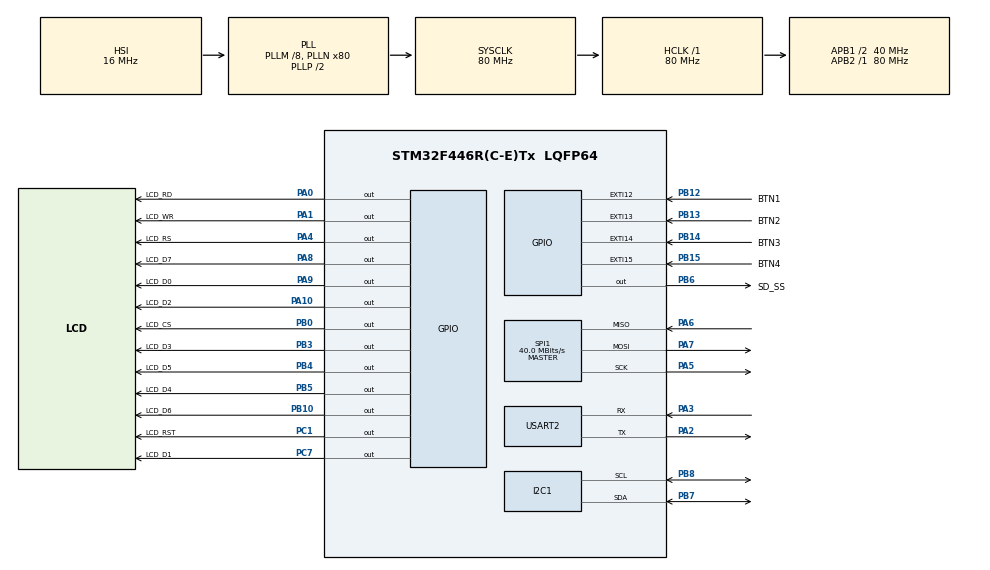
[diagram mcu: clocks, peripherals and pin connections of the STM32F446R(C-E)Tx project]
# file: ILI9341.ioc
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Mcu.Family=STM32F4
Mcu.Name=STM32F446R(C-E)Tx
Mcu.Package=LQFP64
NVIC.EXTI15_10_IRQn=true\:0\:0\:false\:false\:true\:true\:true\:true
NVIC.I2C1_ER_IRQn=true\:0\:0\:false\:false\:true\:true\:true\:true
NVIC.I2C1_EV_IRQn=true\:0\:0\:false\:false\:true\:true\:true\:true
NVIC.PriorityGroup=NVIC_PRIORITYGROUP_4
NVIC.USART2_IRQn=true\:0\:0\:false\:false\:true\:true\:true\:true
PA0-WKUP.GPIO_Label=LCD_RD
PA0-WKUP.GPIO_Speed=GPIO_SPEED_FREQ_HIGH
PA0-WKUP.Signal=GPIO_Output
PA1.GPIO_Label=LCD_WR
PA1.GPIO_Speed=GPIO_SPEED_FREQ_HIGH
PA1.Signal=GPIO_Output
PA10.GPIO_Label=LCD_D2
PA10.GPIO_Speed=GPIO_SPEED_FREQ_HIGH
PA10.Signal=GPIO_Output
PA13.Mode=Serial_Wire
PA13.Signal=SYS_JTMS-SWDIO
PA14.Mode=Serial_Wire
PA14.Signal=SYS_JTCK-SWCLK
PA2.Mode=Asynchronous
PA2.Signal=USART2_TX
PA3.Mode=Asynchronous
PA3.Signal=USART2_RX
PA4.GPIO_Label=LCD_RS
PA4.GPIO_Speed=GPIO_SPEED_FREQ_HIGH
PA4.Signal=GPIO_Output
PA5.Mode=Full_Duplex_Master
PA5.Signal=SPI1_SCK
PA6.Mode=Full_Duplex_Master
PA6.Signal=SPI1_MISO
PA7.Mode=Full_Duplex_Master
PA7.Signal=SPI1_MOSI
PA8.GPIO_Label=LCD_D7
PA8.GPIO_Speed=GPIO_SPEED_FREQ_HIGH
PA8.Signal=GPIO_Output
PA9.GPIO_Label=LCD_D0
PA9.GPIO_Speed=GPIO_SPEED_FREQ_HIGH
PA9.Signal=GPIO_Output
PB0.GPIO_Label=LCD_CS
PB0.GPIO_Speed=GPIO_SPEED_FREQ_HIGH
PB0.Signal=GPIO_Output
PB10.GPIO_Label=LCD_D6
PB10.GPIO_Speed=GPIO_SPEED_FREQ_HIGH
PB10.Signal=GPIO_Output
PB12.GPIO_Label=BTN1
PB12.Signal=GPXTI12
PB13.GPIO_Label=BTN2
PB13.Signal=GPXTI13
PB14.GPIO_Label=BTN3
PB14.Signal=GPXTI14
PB15.GPIO_Label=BTN4
PB15.Signal=GPXTI15
PB3.GPIO_Label=LCD_D3
PB3.GPIO_Speed=GPIO_SPEED_FREQ_HIGH
PB3.Signal=GPIO_Output
PB4.GPIO_Label=LCD_D5
PB4.GPIO_Speed=GPIO_SPEED_FREQ_HIGH
PB4.Signal=GPIO_Output
PB5.GPIO_Label=LCD_D4
PB5.GPIO_Speed=GPIO_SPEED_FREQ_HIGH
PB5.Signal=GPIO_Output
PB6.GPIO_Label=SD_SS
PB6.GPIO_Speed=GPIO_SPEED_FREQ_HIGH
PB6.Signal=GPIO_Output
PB7.Mode=I2C
PB7.Signal=I2C1_SDA
PB8.Mode=I2C
PB8.Signal=I2C1_SCL
PC1.GPIO_Label=LCD_RST
PC1.GPIO_Speed=GPIO_SPEED_FREQ_HIGH
PC1.Signal=GPIO_Output
PC7.GPIO_Label=LCD_D1
PC7.GPIO_Speed=GPIO_SPEED_FREQ_HIGH
PC7.Signal=GPIO_Output
PH0-OSC_IN.Mode=HSE-External-Oscillator
PH0-OSC_IN.Signal=RCC_OSC_IN
PH1-OSC_OUT.Mode=HSE-External-Oscillator
PH1-OSC_OUT.Signal=RCC_OSC_OUT
ProjectManager.HeapSize=0x200
ProjectManager.StackSize=0x400
ProjectManager.TargetToolchain=STM32CubeIDE
RCC.AHBFreq_Value=80000000
RCC.APB1CLKDivider=RCC_HCLK_DIV2
RCC.APB1Freq_Value=40000000
RCC.APB1TimFreq_Value=80000000
RCC.APB2Freq_Value=80000000
RCC.APB2TimFreq_Value=80000000
RCC.CortexFreq_Value=80000000
RCC.HCLKFreq_Value=80000000
RCC.PLLM=8
RCC.PLLN=80
RCC.SYSCLKFreq_VALUE=80000000
RCC.SYSCLKSource=RCC_SYSCLKSOURCE_PLLCLK
RCC.USBFreq_Value=80000000
RCC.VCOOutputFreq_Value=160000000
SPI1.CalculateBaudRate=40.0 MBits/s
SPI1.Direction=SPI_DIRECTION_2LINES
SPI1.Mode=SPI_MODE_MASTER
SPI1.VirtualType=VM_MASTER
USART2.VirtualMode=VM_ASYNC
board=custom

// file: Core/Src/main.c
/* USER CODE BEGIN Header */
/**
 ******************************************************************************
 * @file           : main.c
 * @brief          : Main program body
 ******************************************************************************
 * @attention
 *
 * Copyright (c) 2024 STMicroelectronics.
 * All rights reserved.
 *
 * This software is licensed under terms that can be found in the LICENSE file
 * in the root directory of this software component.
 * If no LICENSE file comes with this software, it is provided AS-IS.
 *
 ******************************************************************************
 */
/* USER CODE END Header */
#include "main.h"

/* USER CODE BEGIN Includes */
#include "ili9341.h"
#include "sprites.h"
/* USER CODE END Includes */

/* USER CODE BEGIN PTD */
typedef struct {
    uint8_t estado;
    unsigned int isEntering;
    float animacionEntrada;
    unsigned int isOut;
    float animacionSalida;
    uint8_t num;
    unsigned int x;
    unsigned int y;
} EspacioParqueo;
/* USER CODE END PTD */

I2C_HandleTypeDef hi2c1;

SPI_HandleTypeDef hspi1;

UART_HandleTypeDef huart2;

/* USER CODE BEGIN PV */
extern uint8_t fondo[];
uint8_t byteControl= 0x00;
uint8_t datos = 0x00;
EspacioParqueo p1,p2,p3,p4,p5,p6,p7,p8;
uint8_t Rx[1];
uint8_t Tx[1];

// Variables para antirrebote y conteo por botón
uint32_t previousMillis[4] = {0, 0, 0, 0};
uint32_t currentMillis = 0;
uint32_t counterOutside = 0;
uint32_t counterInside[4] = {0, 0, 0, 0};

//Variables I2C
uint8_t I2C_Rx[1];
/* USER CODE END PV */

void SystemClock_Config(void);
static void MX_GPIO_Init(void);
static void MX_SPI1_Init(void);
static void MX_USART2_UART_Init(void);
static void MX_I2C1_Init(void);

int main(void)
{

  /* USER CODE BEGIN 1 */

void initParqueo(EspacioParqueo* parqueo, uint8_t num, unsigned int x, unsigned int y){
	parqueo ->estado = 0; // 0 = libre, 1 = ocupado
	parqueo ->isEntering=0;
	parqueo ->animacionEntrada=5;
	parqueo ->isOut=0;
	parqueo ->animacionSalida=5;
	parqueo ->num=num;
	parqueo ->x=x;
	parqueo ->y=y;
}

void FanimationOut(EspacioParqueo* parqueo){
	int variableAnimationOut = parqueo ->  animacionSalida;
	if (variableAnimationOut<5){
		if (parqueo->num==0x10 || parqueo->num==0x20||parqueo->num==0x40 || parqueo->num==0x80){
			LCD_Sprite(parqueo ->x, parqueo->y, 40, 24, RedCar_40x24, 5, variableAnimationOut, 1, 0);
		} else{
			LCD_Sprite(parqueo ->x, parqueo->y, 40, 24, RedCar_40x24, 5, variableAnimationOut, 0, 0);
			  }
		}
	parqueo -> animacionSalida+=0.8;//0.2
}

void FanimationEnter(EspacioParqueo* parqueo){
	int variableAnimationEnter = parqueo ->  animacionEntrada;
	if (variableAnimationEnter<5){
		int frame=4-variableAnimationEnter;
		if (parqueo->num==0x10 || parqueo->num==0x20||parqueo->num==0x40 || parqueo->num==0x80){
		LCD_Sprite(parqueo ->x, parqueo->y, 40, 24, RedCar_40x24, 5, frame, 1, 0);
		} else{
			LCD_Sprite(parqueo ->x, parqueo->y, 40, 24, RedCar_40x24, 5, frame, 0, 0);
		}
	}
	parqueo -> animacionEntrada+=0.8;
}

void actualizarEstadoParqueos(EspacioParqueo* parqueo, uint8_t byteControl, int num) {
	if (byteControl & (1 << num)) {
	            // El bit está activo, el espacio está ocupado
	            parqueo ->estado = 1;
	            parqueo ->animacionEntrada=0;
	        } else {
	            // El bit está inactivo, el espacio está libre
	            parqueo -> estado = 0;
	            parqueo ->animacionSalida=0;
	        }
}

void controlParqueo(void){

	actualizarEstadoParqueos(&p1,byteControl, 0);
	FanimationOut(&p1);
	FanimationEnter(&p1);

	actualizarEstadoParqueos(&p2,byteControl, 1);
	FanimationOut(&p2);
	FanimationEnter(&p2);

	actualizarEstadoParqueos(&p3,byteControl, 2);
	FanimationOut(&p3);
	FanimationEnter(&p3);

	actualizarEstadoParqueos(&p4,byteControl, 3);
	FanimationOut(&p4);
	FanimationEnter(&p4);

	actualizarEstadoParqueos(&p5,byteControl, 4);
	FanimationOut(&p5);
	FanimationEnter(&p5);

	actualizarEstadoParqueos(&p6,byteControl, 5);
	FanimationOut(&p6);
	FanimationEnter(&p6);

	actualizarEstadoParqueos(&p7,byteControl, 6);
	FanimationOut(&p7);
	FanimationEnter(&p7);

	actualizarEstadoParqueos(&p8,byteControl, 7);
	FanimationOut(&p8);
	FanimationEnter(&p8);

}

  /* USER CODE END 1 */

  /* MCU Configuration--------------------------------------------------------*/

  /* Reset of all peripherals, Initializes the Flash interface and the Systick. */
  HAL_Init();

  /* Configure the system clock */
  SystemClock_Config();

  /* Initialize all configured peripherals */
  MX_GPIO_Init();
  MX_SPI1_Init();
  MX_USART2_UART_Init();
  MX_I2C1_Init();
  /* USER CODE BEGIN 2 */

  //UART
  //HAL_UART_Receive_IT(&huart2, Rx, sizeof(Rx));

  //I2C
  if (HAL_I2C_EnableListen_IT(&hi2c1) != HAL_OK){
	  Error_Handler();
  }

  HAL_Delay(100);

	LCD_Init();
	LCD_Clear(0x00);

	LCD_Bitmap(0, 0, 320, 240, fondo);

	initParqueo(&p1, 0x01, 26, 191);
	initParqueo(&p2, 0x02, 26, 150);
	initParqueo(&p3, 0x04, 26, 108);
	initParqueo(&p4, 0x08, 26, 68);

	initParqueo(&p5, 0x10, 253, 68);
	initParqueo(&p6, 0x20, 253, 108);
	initParqueo(&p7, 0x40, 253, 150);
	initParqueo(&p8, 0x80, 253, 191);
  /* USER CODE END 2 */

  /* Infinite loop */
  /* USER CODE BEGIN WHILE */
	while (1) {
		controlParqueo();
    /* USER CODE END WHILE */

	}
}

void SystemClock_Config(void)
{
  RCC_OscInitTypeDef RCC_OscInitStruct = {0};
  RCC_ClkInitTypeDef RCC_ClkInitStruct = {0};

  /** Configure the main internal regulator output voltage
  */
  __HAL_RCC_PWR_CLK_ENABLE();
  __HAL_PWR_VOLTAGESCALING_CONFIG(PWR_REGULATOR_VOLTAGE_SCALE3);

  /** Initializes the RCC Oscillators according to the specified parameters
  * in the RCC_OscInitTypeDef structure.
  */
  RCC_OscInitStruct.OscillatorType = RCC_OSCILLATORTYPE_HSI;
  RCC_OscInitStruct.HSIState = RCC_HSI_ON;
  RCC_OscInitStruct.HSICalibrationValue = RCC_HSICALIBRATION_DEFAULT;
  RCC_OscInitStruct.PLL.PLLState = RCC_PLL_ON;
  RCC_OscInitStruct.PLL.PLLSource = RCC_PLLSOURCE_HSI;
  RCC_OscInitStruct.PLL.PLLM = 8;
  RCC_OscInitStruct.PLL.PLLN = 80;
  RCC_OscInitStruct.PLL.PLLP = RCC_PLLP_DIV2;
  RCC_OscInitStruct.PLL.PLLQ = 2;
  RCC_OscInitStruct.PLL.PLLR = 2;
  if (HAL_RCC_OscConfig(&RCC_OscInitStruct) != HAL_OK)
  {
    Error_Handler();
  }

  /** Initializes the CPU, AHB and APB buses clocks
  */
  RCC_ClkInitStruct.ClockType = RCC_CLOCKTYPE_HCLK|RCC_CLOCKTYPE_SYSCLK
                              |RCC_CLOCKTYPE_PCLK1|RCC_CLOCKTYPE_PCLK2;
  RCC_ClkInitStruct.SYSCLKSource = RCC_SYSCLKSOURCE_PLLCLK;
  RCC_ClkInitStruct.AHBCLKDivider = RCC_SYSCLK_DIV1;
  RCC_ClkInitStruct.APB1CLKDivider = RCC_HCLK_DIV2;
  RCC_ClkInitStruct.APB2CLKDivider = RCC_HCLK_DIV1;

  if (HAL_RCC_ClockConfig(&RCC_ClkInitStruct, FLASH_LATENCY_2) != HAL_OK)
  {
    Error_Handler();
  }
}

static void MX_I2C1_Init(void)
{

  hi2c1.Instance = I2C1;
  hi2c1.Init.ClockSpeed = 100000;
  hi2c1.Init.DutyCycle = I2C_DUTYCYCLE_2;
  hi2c1.Init.OwnAddress1 = 0;
  hi2c1.Init.AddressingMode = I2C_ADDRESSINGMODE_7BIT;
  hi2c1.Init.DualAddressMode = I2C_DUALADDRESS_DISABLE;
  hi2c1.Init.OwnAddress2 = 0;
  hi2c1.Init.GeneralCallMode = I2C_GENERALCALL_DISABLE;
  hi2c1.Init.NoStretchMode = I2C_NOSTRETCH_DISABLE;
  if (HAL_I2C_Init(&hi2c1) != HAL_OK)
  {
    Error_Handler();
  }

}

static void MX_SPI1_Init(void)
{

  /* SPI1 parameter configuration*/
  hspi1.Instance = SPI1;
  hspi1.Init.Mode = SPI_MODE_MASTER;
  hspi1.Init.Direction = SPI_DIRECTION_2LINES;
  hspi1.Init.DataSize = SPI_DATASIZE_8BIT;
  hspi1.Init.CLKPolarity = SPI_POLARITY_LOW;
  hspi1.Init.CLKPhase = SPI_PHASE_1EDGE;
  hspi1.Init.NSS = SPI_NSS_SOFT;
  hspi1.Init.BaudRatePrescaler = SPI_BAUDRATEPRESCALER_2;
  hspi1.Init.FirstBit = SPI_FIRSTBIT_MSB;
  hspi1.Init.TIMode = SPI_TIMODE_DISABLE;
  hspi1.Init.CRCCalculation = SPI_CRCCALCULATION_DISABLE;
  hspi1.Init.CRCPolynomial = 10;
  if (HAL_SPI_Init(&hspi1) != HAL_OK)
  {
    Error_Handler();
  }

}

static void MX_USART2_UART_Init(void)
{

  huart2.Instance = USART2;
  huart2.Init.BaudRate = 115200;
  huart2.Init.WordLength = UART_WORDLENGTH_8B;
  huart2.Init.StopBits = UART_STOPBITS_1;
  huart2.Init.Parity = UART_PARITY_NONE;
  huart2.Init.Mode = UART_MODE_TX_RX;
  huart2.Init.HwFlowCtl = UART_HWCONTROL_NONE;
  huart2.Init.OverSampling = UART_OVERSAMPLING_16;
  if (HAL_UART_Init(&huart2) != HAL_OK)
  {
    Error_Handler();
  }

}

static void MX_GPIO_Init(void)
{
  GPIO_InitTypeDef GPIO_InitStruct = {0};

  /* GPIO Ports Clock Enable */
  __HAL_RCC_GPIOH_CLK_ENABLE();
  __HAL_RCC_GPIOC_CLK_ENABLE();
  __HAL_RCC_GPIOA_CLK_ENABLE();
  __HAL_RCC_GPIOB_CLK_ENABLE();

  /*Configure GPIO pin Output Level */
  HAL_GPIO_WritePin(GPIOC, LCD_RST_Pin|LCD_D1_Pin, GPIO_PIN_RESET);

  /*Configure GPIO pin Output Level */
  HAL_GPIO_WritePin(GPIOA, LCD_RD_Pin|LCD_WR_Pin|LCD_RS_Pin|LCD_D7_Pin
                          |LCD_D0_Pin|LCD_D2_Pin, GPIO_PIN_RESET);

  /*Configure GPIO pin Output Level */
  HAL_GPIO_WritePin(GPIOB, LCD_CS_Pin|LCD_D6_Pin|LCD_D3_Pin|LCD_D5_Pin
                          |LCD_D4_Pin|SD_SS_Pin, GPIO_PIN_RESET);

  /*Configure GPIO pins : LCD_RST_Pin LCD_D1_Pin */
  GPIO_InitStruct.Pin = LCD_RST_Pin|LCD_D1_Pin;
  GPIO_InitStruct.Mode = GPIO_MODE_OUTPUT_PP;
  GPIO_InitStruct.Pull = GPIO_NOPULL;
  GPIO_InitStruct.Speed = GPIO_SPEED_FREQ_HIGH;
  HAL_GPIO_Init(GPIOC, &GPIO_InitStruct);

  /*Configure GPIO pins : LCD_RD_Pin LCD_WR_Pin LCD_RS_Pin LCD_D7_Pin
                           LCD_D0_Pin LCD_D2_Pin */
  GPIO_InitStruct.Pin = LCD_RD_Pin|LCD_WR_Pin|LCD_RS_Pin|LCD_D7_Pin
                          |LCD_D0_Pin|LCD_D2_Pin;
  GPIO_InitStruct.Mode = GPIO_MODE_OUTPUT_PP;
  GPIO_InitStruct.Pull = GPIO_NOPULL;
  GPIO_InitStruct.Speed = GPIO_SPEED_FREQ_HIGH;
  HAL_GPIO_Init(GPIOA, &GPIO_InitStruct);

  /*Configure GPIO pins : LCD_CS_Pin LCD_D6_Pin LCD_D3_Pin LCD_D5_Pin
                           LCD_D4_Pin SD_SS_Pin */
  GPIO_InitStruct.Pin = LCD_CS_Pin|LCD_D6_Pin|LCD_D3_Pin|LCD_D5_Pin
                          |LCD_D4_Pin|SD_SS_Pin;
  GPIO_InitStruct.Mode = GPIO_MODE_OUTPUT_PP;
  GPIO_InitStruct.Pull = GPIO_NOPULL;
  GPIO_InitStruct.Speed = GPIO_SPEED_FREQ_HIGH;
  HAL_GPIO_Init(GPIOB, &GPIO_InitStruct);

  /*Configure GPIO pins : BTN1_Pin BTN2_Pin BTN3_Pin BTN4_Pin */
  GPIO_InitStruct.Pin = BTN1_Pin|BTN2_Pin|BTN3_Pin|BTN4_Pin;
  GPIO_InitStruct.Mode = GPIO_MODE_IT_RISING;
  GPIO_InitStruct.Pull = GPIO_NOPULL;
  HAL_GPIO_Init(GPIOB, &GPIO_InitStruct);

  /* EXTI interrupt init*/
  HAL_NVIC_SetPriority(EXTI15_10_IRQn, 0, 0);
  HAL_NVIC_EnableIRQ(EXTI15_10_IRQn);

}

/* USER CODE BEGIN 4 */
void HAL_GPIO_EXTI_Callback(uint16_t GPIO_Pin)
{
    counterOutside++; // Para pruebas
    currentMillis = HAL_GetTick();

    // Verificar qué botón fue presionado y aplicar el antirrebote
    if (GPIO_Pin == GPIO_PIN_12 && (currentMillis - previousMillis[0] > 150))
    {
        counterInside[0]++; // Para pruebas del botón 1
        previousMillis[0] = currentMillis;
        byteControl^= 0b00000001;
        Tx[0]=byteControl;
        Rx[0]=byteControl;
        //HAL_UART_Transmit_IT(&huart2, Tx, sizeof(Tx));
    }
    else if (GPIO_Pin == GPIO_PIN_13 && (currentMillis - previousMillis[1] > 150))
    {
        counterInside[1]++; // Para pruebas del botón 2
        previousMillis[1] = currentMillis;
        byteControl^= 0b00000010;
        Tx[0]=byteControl;
        Rx[0]=byteControl;
        //HAL_UART_Transmit_IT(&huart2, Tx, sizeof(Tx));

    }
    else if (GPIO_Pin == GPIO_PIN_14 && (currentMillis - previousMillis[2] > 150))
    {
        counterInside[2]++; // Para pruebas del botón 3
        previousMillis[2] = currentMillis;
        byteControl^= 0b00000100;
        Tx[0]=byteControl;
        Rx[0]=byteControl;
        //HAL_UART_Transmit_IT(&huart2, Tx, sizeof(Tx));
    }
    else if (GPIO_Pin == GPIO_PIN_15 && (currentMillis - previousMillis[3] > 150))
    {
        counterInside[3]++; // Para pruebas del botón 4

        previousMillis[3] = currentMillis;
        byteControl^= 0b00001000;
		Tx[0]=byteControl;
		Rx[0]=byteControl;
		//HAL_UART_Transmit_IT(&huart2, Tx, sizeof(Tx));
    }
}

//UART

void HAL_UART_RxCpltCallback(UART_HandleTypeDef *huart)
{
	byteControl=Rx[0];
	HAL_UART_Transmit_IT(huart, Tx, sizeof(Tx));
}

void HAL_UART_TxCpltCallback(UART_HandleTypeDef *huart){
	HAL_UART_Receive_IT(huart, Rx, sizeof(Rx));
}

//I2C
void HAL_I2C_ListenCpltCallback(I2C_HandleTypeDef *hi2c){
	//Pone el disposivo a escuchar
	HAL_I2C_EnableListen_IT(hi2c);
}

void HAL_I2C_AddrCallback(I2C_HandleTypeDef *hi2c, uint8_t TransferDirection, uint16_t AddrMatchCode){
	//Cuando recibe algo verifica la dirección
	if (TransferDirection== I2C_DIRECTION_TRANSMIT){
		HAL_I2C_Slave_Seq_Receive_IT(hi2c, I2C_Rx, sizeof(I2C_Rx), I2C_FIRST_AND_LAST_FRAME);
	} else{
		Tx[0]=byteControl;
		HAL_I2C_Slave_Seq_Transmit_IT(hi2c, Tx, sizeof(Tx), I2C_FIRST_AND_LAST_FRAME);
	}
}

void HAL_I2C_SlaveRxCpltCallback(I2C_HandleTypeDef *hi2c){
	//Al terminar la recepción de datos envía el byteControl (Parqueos) y vuelve a escuchar
	byteControl=I2C_Rx[0];
	HAL_UART_Transmit_IT(&huart2, I2C_Rx, sizeof(Tx));
	HAL_I2C_EnableListen_IT(hi2c);
}

void HAL_I2C_SlaveTxCpltCallback(I2C_HandleTypeDef *hi2c){
	//Al terminar el envío de datos se pone a escuchar
	HAL_I2C_EnableListen_IT(hi2c);
}

void HAL_I2C_ErrorCallback(I2C_HandleTypeDef *hi2c){{
	//Si hay errores, se pone a escuchar
}
	HAL_I2C_EnableListen_IT(hi2c);
}
/* USER CODE END 4 */

void Error_Handler(void)
{
	__disable_irq();
	while (1) {
	}
}
